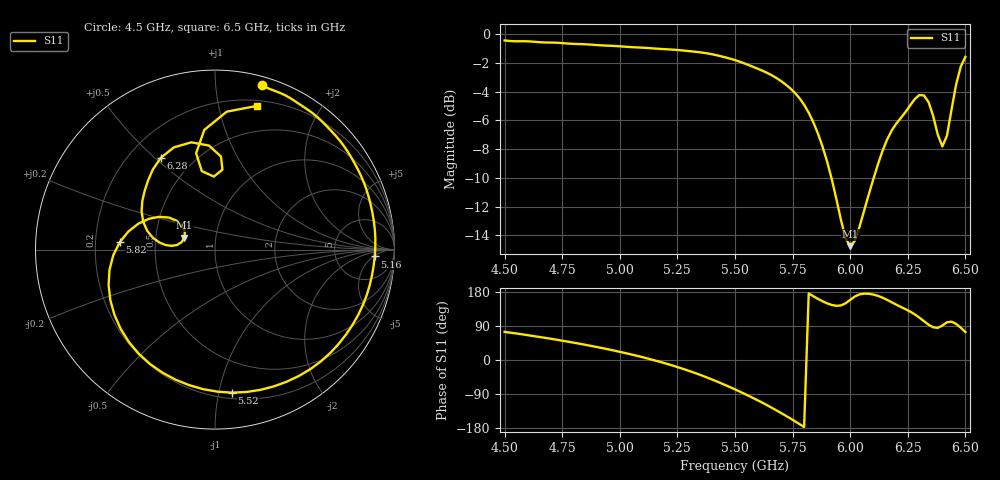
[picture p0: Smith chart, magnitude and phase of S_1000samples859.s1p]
! TOUCHSTONE file generated by CST MICROWAVE STUDIO
! Date and time: Sat Oct 29 15:11:52 2022
! Project name: L.cst
! Parameters = {Di=1.27; Epsilon_r=1.56; InnerDiameter=1.27; Length=2; Lf=10; Lg=60; OuterConductorThickness=0.2921; OuterDiameter=3.6; Wf=3; Wp=41.2; de=1.5; df=6.8; g=0.8; gx=3.93338; gy=0.669363; h=2.34; hf=1.524; px=8.78869; py=11.5362; w=9.7; wx=4.85531; wy=10.8669}
! Header version: 2018
! Port assignment regex: !\s*Touchstone port\s*([0-9]+)\s*=\s*(CST MWS port|CST DS port)\s*([0-9]+|Zmin|Zmax)\s*\(\"(.*)\"\)(\s*mode\s*([0-9]+))?.*
! Touchstone port assignment:
! Touchstone port 1 = CST MWS port 1 ("")
# GHz S DB R 50
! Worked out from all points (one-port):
!   101 points, 4.5 GHz to 6.5 GHz, reference 50 ohm
!   lowest |S11| = -14.8 dB at 6 GHz (marker M1), VSWR 1.45, Z = 35.2 + j4.84 ohm
!   |S11| at or under -10 dB: 5.918 GHz to 6.102 GHz (183.7 MHz wide, 3.06 % of centre)
!   S11 on the Smith chart (normalised r, x): 4.5 GHz: 0.07, +1.32; 5.16 GHz: 15, -6; 5.52 GHz: 0.24, -1.10; 5.82 GHz: 0.31, +0.03; 6.28 GHz: 0.33, +0.52; 6.5 GHz: 0.25, +1.30
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4.5  -0.44 74.1
4.76  -0.63 49.9
5  -0.84 21.5
5.16  -1.01 -2.5
5.26  -1.11 -20.6
5.38  -1.33 -46.6
5.5  -1.80 -77.5
5.52  -1.91 -83.2
5.58  -2.28 -100.7
5.64  -2.70 -119.6
5.7  -3.26 -139.9
5.76  -4.08 -161.6
5.82  -5.47 175.7
5.9  -8.88 149.5
5.96  -12.94 144.1
6  -14.76 158.7
6.06  -12.31 175.1
6.12  -9.08 169.3
6.18  -6.71 152.3
6.26  -4.96 127.9
6.28  -4.52 120.5
6.32  -4.26 102.5
6.36  -5.69 86.3
6.4  -7.81 90.9
6.44  -5.23 101.1
6.46  -3.48 95.1
6.48  -2.25 85.1
6.5  -1.58 73.8
